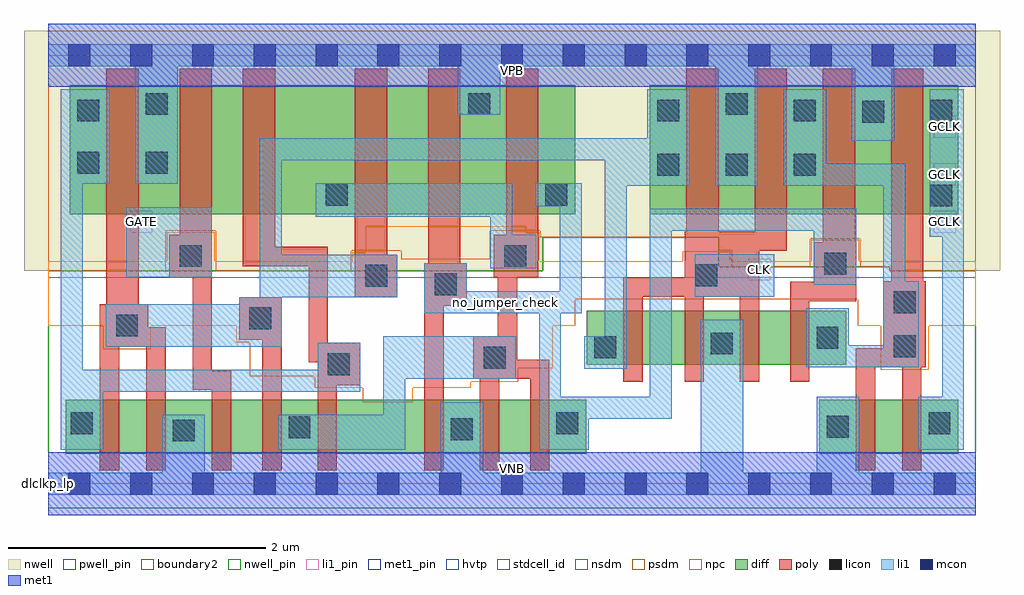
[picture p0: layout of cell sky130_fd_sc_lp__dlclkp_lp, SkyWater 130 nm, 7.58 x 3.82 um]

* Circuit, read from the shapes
.subckt sky130_fd_sc_lp__dlclkp_lp CLK GATE GCLK VGND VNB VPB VPWR
XM1 n1 n2 n3 VNB sky130_fd_pr__nfet_01v8 w=0.42 l=0.15
XM2 VGND n2 n1 VNB sky130_fd_pr__nfet_01v8 w=0.42 l=0.15
XM3 n4 GATE VGND VNB sky130_fd_pr__nfet_01v8 w=0.42 l=0.15
XM4 n5 n2 n4 VNB sky130_fd_pr__nfet_01v8 w=0.42 l=0.15
XM5 n6 n3 n5 VNB sky130_fd_pr__nfet_01v8 w=0.42 l=0.15
XM6 VGND n7 n6 VNB sky130_fd_pr__nfet_01v8 w=0.42 l=0.15
XM7 n8 n5 VGND VNB sky130_fd_pr__nfet_01v8 w=0.42 l=0.15
XM8 n7 n5 n8 VNB sky130_fd_pr__nfet_01v8 w=0.42 l=0.15
XM9 n9 CLK n2 VNB sky130_fd_pr__nfet_01v8 w=0.42 l=0.15
XM10 VGND CLK n9 VNB sky130_fd_pr__nfet_01v8 w=0.42 l=0.15
XM11 n10 CLK VGND VNB sky130_fd_pr__nfet_01v8 w=0.42 l=0.15
XM12 n11 n7 n10 VNB sky130_fd_pr__nfet_01v8 w=0.42 l=0.15
XM13 n12 n11 VGND VNB sky130_fd_pr__nfet_01v8 w=0.42 l=0.15
XM14 GCLK n11 n12 VNB sky130_fd_pr__nfet_01v8 w=0.42 l=0.15
XM15 VPWR n2 n3 VPB sky130_fd_pr__pfet_01v8_hvt w=1 l=0.25
XM16 n13 GATE VPWR VPB sky130_fd_pr__pfet_01v8_hvt w=1 l=0.25
XM17 n5 n3 n13 VPB sky130_fd_pr__pfet_01v8_hvt w=1 l=0.25
XM18 n14 n2 n5 VPB sky130_fd_pr__pfet_01v8_hvt w=1 l=0.25
XM19 VPWR n7 n14 VPB sky130_fd_pr__pfet_01v8_hvt w=1 l=0.25
XM20 n7 n5 VPWR VPB sky130_fd_pr__pfet_01v8_hvt w=1 l=0.25
XM21 VPWR CLK n2 VPB sky130_fd_pr__pfet_01v8_hvt w=1 l=0.25
XM22 n11 CLK VPWR VPB sky130_fd_pr__pfet_01v8_hvt w=1 l=0.25
XM23 VPWR n7 n11 VPB sky130_fd_pr__pfet_01v8_hvt w=1 l=0.25
XM24 GCLK n11 VPWR VPB sky130_fd_pr__pfet_01v8_hvt w=1 l=0.25
.ends

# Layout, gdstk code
import gdstk
lib = gdstk.Library(unit=1e-6, precision=1e-09)
def R(c, l, rs):  # rectangles x0, y0, x1, y1
    for r in rs: c.add(gdstk.rectangle(r[:2], r[2:], *l))
def A(c, l, x, y, w, h, nx, ny, dx, dy):  # array of equal rectangles
    R(c, l, [(x+i*dx, y+j*dy, x+i*dx+w, y+j*dy+h) for i in range(nx) for j in range(ny)])
def P(c, l, *ps):  # polygons
    for p in ps: c.add(gdstk.Polygon(p, *l))
nwell_pin = (64, 16)
nwell = (64, 20)
diff = (65, 20)
poly = (66, 20)
licon = (66, 44)
li1_pin = (67, 16)
li1 = (67, 20)
mcon = (67, 44)
met1_pin = (68, 16)
met1 = (68, 20)
hvtp = (78, 44)
stdcell_id = (81, 4)
nsdm = (93, 44)
psdm = (94, 20)
npc = (95, 20)
pwell_pin = (122, 16)
boundary2 = (236, 0)

sky130_fd_sc_lp__dlclkp_ = lib.new_cell('sky130_fd_sc_lp__dlclkp_lp')
R(sky130_fd_sc_lp__dlclkp_, nwell_pin, [(0,3.085,7.2,3.33)])
P(sky130_fd_sc_lp__dlclkp_, nwell, [(7.39,3.52),(-0.19,3.52),(-0.19,1.655),(3.84,1.655),(3.84,1.915),(5.205,1.915),(5.205,1.685),(6.535,1.685),(6.535,1.655),(7.39,1.655)])
R(sky130_fd_sc_lp__dlclkp_, diff, [(0.135,0.235,4.175,0.655), (5.985,0.235,7.065,0.655), (4.18,0.925,6.195,1.345), (0.165,2.095,4.09,3.095), (4.67,2.095,7.065,3.095)])
P(sky130_fd_sc_lp__dlclkp_, poly, [(0.91,1.215),(0.775,1.215),(0.775,1.395),(0.7,1.395),(0.7,3.225),(0.45,3.225),(0.45,1.395),(0.4,1.395),(0.4,0.105),(0.55,0.105),(0.55,1.065),(0.76,1.065),(0.76,0.105),(0.91,0.105)],
  [(1.42,0.88),(1.27,0.88),(1.27,3.225),(1.02,3.225),(1.02,1.935),(0.94,1.935),(0.94,1.605),(1.12,1.605),(1.12,0.73),(1.27,0.73),(1.27,0.105),(1.42,0.105)],
  [(1.81,1.45),(1.48,1.45),(1.48,1.12),(1.66,1.12),(1.66,0.105),(1.81,0.105)],
  [(2.42,1.095),(2.17,1.095),(2.17,1.84),(1.76,1.84),(1.76,3.225),(1.51,3.225),(1.51,1.69),(2.02,1.69),(2.02,0.945),(2.09,0.945),(2.09,0.105),(2.24,0.105),(2.24,0.765),(2.42,0.765)],
  [(2.71,1.78),(2.63,1.78),(2.63,3.225),(2.38,3.225),(2.38,1.45),(2.71,1.45)],
  [(3.25,1.715),(3.2,1.715),(3.2,3.225),(2.95,3.225),(2.95,1.715),(2.92,1.715),(2.92,0.105),(3.07,0.105),(3.07,1.385),(3.25,1.385)],
  [(3.89,0.965),(3.64,0.965),(3.64,1.605),(3.805,1.605),(3.805,3.225),(3.555,3.225),(3.555,1.935),(3.46,1.935),(3.46,1.605),(3.49,1.605),(3.49,1.145),(3.3,1.145),(3.3,0.815),(3.35,0.815),(3.35,0.105),(3.5,0.105),(3.5,0.815),(3.74,0.815),(3.74,0.105),(3.89,0.105)],
  [(5.735,3.225),(5.485,3.225),(5.485,1.96),(5.205,1.96),(5.205,3.225),(4.955,3.225),(4.955,1.96),(4.94,1.96),(4.94,1.605),(4.465,1.605),(4.465,0.795),(4.615,0.795),(4.615,1.455),(4.94,1.455),(4.94,0.795),(5.09,0.795),(5.09,1.455),(5.37,1.455),(5.37,0.795),(5.52,0.795),(5.52,1.81),(5.735,1.81)],
  [(6.275,1.875),(6.265,1.875),(6.265,3.225),(6.015,3.225),(6.015,1.875),(5.945,1.875),(5.945,1.57),(5.76,1.57),(5.76,0.795),(5.91,0.795),(5.91,1.42),(6.275,1.42)],
  [(6.815,1.575),(6.795,1.575),(6.795,3.225),(6.545,3.225),(6.545,1.575),(6.485,1.575),(6.485,1.055),(6.27,1.055),(6.27,0.105),(6.42,0.105),(6.42,0.905),(6.63,0.905),(6.63,0.105),(6.78,0.105),(6.78,0.905),(6.815,0.905)])
A(sky130_fd_sc_lp__dlclkp_, licon, 4.73, 2.395, 0.17, 0.17, 3, 1, 0.53, 0)
A(sky130_fd_sc_lp__dlclkp_, licon, 4.73, 2.815, 0.17, 0.17, 3, 1, 1.06, 0)
R(sky130_fd_sc_lp__dlclkp_, licon, [(0.965,0.33,1.135,0.5), (3.125,0.34,3.295,0.51), (1.865,0.355,2.035,0.525), (6.045,0.36,6.215,0.53), (0.175,0.385,0.345,0.555), (3.945,0.385,4.115,0.555), (6.835,0.385,7.005,0.555), (2.17,0.845,2.34,1.015), (3.38,0.895,3.55,1.065), (4.24,0.975,4.41,1.145), (6.565,0.985,6.735,1.155), (5.145,1.005,5.315,1.175), (5.965,1.05,6.135,1.22), (0.525,1.145,0.695,1.315), (1.56,1.2,1.73,1.37), (6.565,1.325,6.735,1.495), (3,1.465,3.17,1.635), (2.46,1.53,2.63,1.7), (5.025,1.535,5.195,1.705), (6.025,1.625,6.195,1.795), (1.02,1.685,1.19,1.855), (3.54,1.685,3.71,1.855), (6.85,2.155,7.02,2.325), (2.155,2.16,2.325,2.33), (3.86,2.16,4.03,2.33), (0.225,2.41,0.395,2.58), (0.755,2.41,0.925,2.58), (6.32,2.805,6.49,2.975), (0.225,2.815,0.395,2.985), (0.755,2.865,0.925,3.035), (3.26,2.865,3.43,3.035), (5.26,2.865,5.43,3.035)])
A(sky130_fd_sc_lp__dlclkp_, li1_pin, 6.875, 1.95, 0.17, 0.17, 1, 3, 0, 0.37)
R(sky130_fd_sc_lp__dlclkp_, li1_pin, [(5.435,1.58,5.605,1.75), (0.635,1.95,0.805,2.12)])
R(sky130_fd_sc_lp__dlclkp_, li1, [(5.02,1.455,5.635,1.785), (0.605,1.605,1.27,2.15)])
P(sky130_fd_sc_lp__dlclkp_, li1, [(5.18,2.315),(5.18,3.245),(3.51,3.245),(3.51,2.865),(3.18,2.865),(3.18,3.245),(1.005,3.245),(1.005,2.33),(0.675,2.33),(0.675,3.245),(0,3.245),(0,3.415),(7.2,3.415),(7.2,3.245),(6.57,3.245),(6.57,2.665),(6.24,2.665),(6.24,3.245),(5.51,3.245),(5.51,2.315)],
  [(3.045,0.085),(3.045,0.635),(3.375,0.635),(3.375,0.085),(5.065,0.085),(5.065,1.275),(5.395,1.275),(5.395,0.085),(5.965,0.085),(5.965,0.675),(6.295,0.675),(6.295,0.085),(7.2,0.085),(7.2,-0.085),(0,-0.085),(0,0.085),(0.885,0.085),(0.885,0.535),(1.215,0.535),(1.215,0.085)],
  [(6.94,0.675),(6.94,1.92),(6.845,1.92),(6.845,3.065),(7.11,3.065),(7.11,0.265),(6.755,0.265),(6.755,0.675)],
  [(0.265,0.885),(2.09,0.885),(2.09,1.095),(2.42,1.095),(2.42,0.715),(0.425,0.715),(0.425,0.265),(0.095,0.265),(0.095,3.065),(0.475,3.065),(0.475,2.33),(0.265,2.33)],
  [(2.075,2.075),(2.075,2.335),(3.6,2.335),(3.6,1.935),(3.79,1.935),(3.79,1.675),(3.43,1.675),(3.43,2.075)],
  [(1.785,0.265),(1.785,0.535),(2.6,0.535),(2.6,1.145),(3.63,1.145),(3.63,0.815),(2.77,0.815),(2.77,0.265)],
  [(1.64,2.685),(4.65,2.685),(4.65,3.065),(4.98,3.065),(4.98,2.315),(4.49,2.315),(4.49,0.895),(4.16,0.895),(4.16,1.145),(4.32,1.145),(4.32,2.515),(1.81,2.515),(1.81,1.78),(2.71,1.78),(2.71,1.45),(1.81,1.45),(1.81,1.065),(0.445,1.065),(0.445,1.395),(1.48,1.395),(1.48,1.45),(1.64,1.45)],
  [(3.25,1.495),(3.97,1.495),(3.97,2.155),(3.78,2.155),(3.78,2.335),(4.14,2.335),(4.14,1.325),(3.98,1.325),(3.98,0.675),(4.67,0.675),(4.67,2.135),(6.275,2.135),(6.275,1.545),(5.945,1.545),(5.945,1.965),(4.84,1.965),(4.84,0.505),(4.195,0.505),(4.195,0.265),(3.81,0.265),(3.81,1.325),(2.92,1.325),(2.92,1.715),(3.25,1.715)],
  [(5.71,2.315),(5.71,3.065),(6.04,3.065),(6.04,2.485),(6.655,2.485),(6.655,1.575),(6.76,1.575),(6.76,0.905),(5.885,0.905),(5.885,1.365),(6.215,1.365),(6.215,1.075),(6.485,1.075),(6.485,2.315)])
A(sky130_fd_sc_lp__dlclkp_, mcon, 0.155, -0.085, 0.17, 0.17, 15, 2, 0.48, 3.33)
R(sky130_fd_sc_lp__dlclkp_, met1_pin, [(0,0,7.2,0.245), (0,3.085,7.2,3.33)])
R(sky130_fd_sc_lp__dlclkp_, met1, [(0,-0.245,7.2,0.245), (0,3.085,7.2,3.575)])
R(sky130_fd_sc_lp__dlclkp_, hvtp, [(0,1.6,7.2,3.33)])
R(sky130_fd_sc_lp__dlclkp_, stdcell_id, [(0,0,7.2,3.33)])
P(sky130_fd_sc_lp__dlclkp_, nsdm, [(7.2,1.655),(6.535,1.655),(6.535,1.685),(5.205,1.685),(5.205,1.915),(3.84,1.915),(3.84,1.655),(0,1.655),(0,-0.19),(7.2,-0.19)])
P(sky130_fd_sc_lp__dlclkp_, psdm, [(7.2,3.52),(0,3.52),(0,1.655),(0.91,1.655),(0.91,1.965),(1.3,1.965),(1.3,1.655),(2.35,1.655),(2.35,1.81),(2.74,1.81),(2.74,1.745),(3.43,1.745),(3.43,1.965),(3.82,1.965),(3.82,1.915),(5.205,1.915),(5.205,1.815),(5.305,1.815),(5.305,1.685),(5.915,1.685),(5.915,1.905),(6.305,1.905),(6.305,1.685),(6.535,1.685),(6.535,1.655),(7.2,1.655)])
P(sky130_fd_sc_lp__dlclkp_, npc, [(7.2,1.73),(6.295,1.73),(6.295,1.895),(5.925,1.895),(5.925,1.73),(5.295,1.73),(5.295,1.805),(4.925,1.805),(4.925,1.73),(3.81,1.73),(3.81,1.955),(3.705,1.955),(3.705,2),(2.465,2),(2.465,1.8),(2.36,1.8),(2.36,1.73),(1.29,1.73),(1.29,1.955),(0.92,1.955),(0.92,1.73),(0,1.73),(0,1.23),(0.425,1.23),(0.425,1.045),(0.795,1.045),(0.795,1.23),(1.46,1.23),(1.46,1.1),(1.565,1.1),(1.565,0.835),(2.07,0.835),(2.07,0.745),(2.44,0.745),(2.44,0.635),(2.83,0.635),(2.83,0.745),(3.28,0.745),(3.28,0.795),(3.65,0.795),(3.65,0.9),(3.915,0.9),(3.915,1.23),(4.09,1.23),(4.09,1.435),(6.285,1.435),(6.285,1.23),(6.465,1.23),(6.465,0.885),(6.835,0.885),(6.835,1.23),(7.2,1.23)])
R(sky130_fd_sc_lp__dlclkp_, pwell_pin, [(0,0,7.2,0.245)])
R(sky130_fd_sc_lp__dlclkp_, boundary2, [(0,0,7.2,3.33)])
sky130_fd_sc_lp__dlclkp_.add(gdstk.Label('VNB', (3.6,0.123), layer=64, texttype=59))
sky130_fd_sc_lp__dlclkp_.add(gdstk.Label('VPB', (3.6,3.208), layer=64, texttype=5))
sky130_fd_sc_lp__dlclkp_.add(gdstk.Label('dlclkp_lp', (0,0), layer=83, texttype=44))
sky130_fd_sc_lp__dlclkp_.add(gdstk.Label('no_jumper_check', (3.55,1.41), layer=83, texttype=44))
sky130_fd_sc_lp__dlclkp_.add(gdstk.Label('VPWR', (3.6,3.208), layer=68, texttype=5))
sky130_fd_sc_lp__dlclkp_.add(gdstk.Label('VGND', (3.6,0.123), layer=68, texttype=5))
sky130_fd_sc_lp__dlclkp_.add(gdstk.Label('GCLK', (6.96,2.035), layer=67, texttype=5))
sky130_fd_sc_lp__dlclkp_.add(gdstk.Label('GCLK', (6.96,2.405), layer=67, texttype=5))
sky130_fd_sc_lp__dlclkp_.add(gdstk.Label('GCLK', (6.96,2.775), layer=67, texttype=5))
sky130_fd_sc_lp__dlclkp_.add(gdstk.Label('CLK', (5.52,1.665), layer=67, texttype=5))
sky130_fd_sc_lp__dlclkp_.add(gdstk.Label('GATE', (0.72,2.035), layer=67, texttype=5))

lib.write_gds('sky130_fd_sc_lp__dlclkp_lp.gds')
